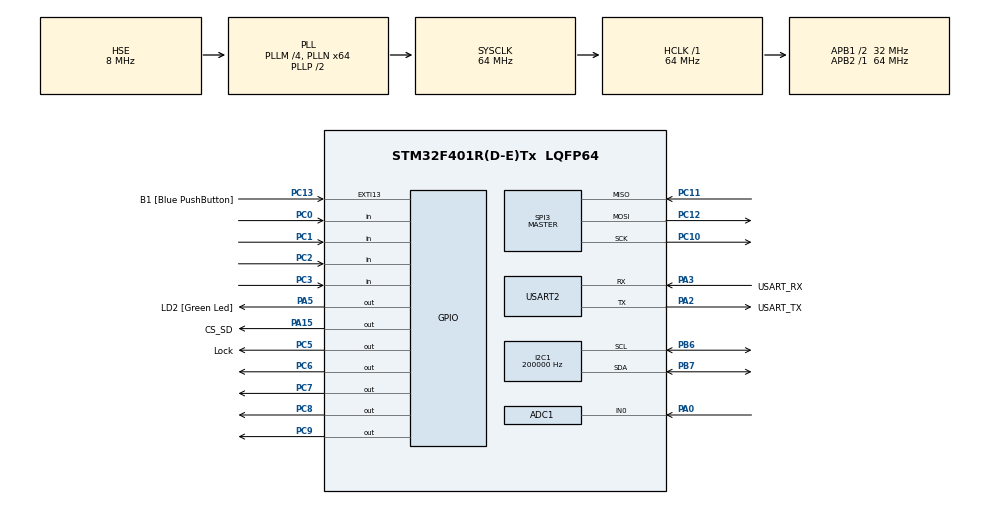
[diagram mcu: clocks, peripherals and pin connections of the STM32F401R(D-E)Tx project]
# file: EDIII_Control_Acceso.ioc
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ADC1.Channel-7\#ChannelRegularConversion=ADC_CHANNEL_0
ADC1.ClockPrescaler=ADC_CLOCK_SYNC_PCLK_DIV2
ADC1.ContinuousConvMode=DISABLE
ADC1.DMAContinuousRequests=DISABLE
ADC1.EOCSelection=ADC_EOC_SINGLE_CONV
ADC1.ExternalTrigConv=ADC_EXTERNALTRIGCONV_T3_TRGO
ADC1.NbrOfConversion=1
ADC1.NbrOfConversionFlag=1
ADC1.Rank-7\#ChannelRegularConversion=1
ADC1.SamplingTime-7\#ChannelRegularConversion=ADC_SAMPLETIME_28CYCLES
ADC1.master=1
Dma.ADC1.0.Direction=DMA_PERIPH_TO_MEMORY
Dma.ADC1.0.FIFOMode=DMA_FIFOMODE_DISABLE
Dma.ADC1.0.Instance=DMA2_Stream0
Dma.ADC1.0.MemDataAlignment=DMA_MDATAALIGN_HALFWORD
Dma.ADC1.0.MemInc=DMA_MINC_ENABLE
Dma.ADC1.0.Mode=DMA_NORMAL
Dma.ADC1.0.PeriphDataAlignment=DMA_PDATAALIGN_HALFWORD
Dma.ADC1.0.PeriphInc=DMA_PINC_DISABLE
Dma.ADC1.0.Priority=DMA_PRIORITY_LOW
Dma.Request0=ADC1
FATFS._CODE_PAGE=852
FATFS._FS_EXFAT=1
FATFS._MAX_SS=4096
FATFS._USE_LFN=3
FREERTOS.INCLUDE_vTaskDelayUntil=1
FREERTOS.MEMORY_ALLOCATION=0
FREERTOS.Tasks01=defaultTask,0,128,StartDefaultTask,Default,NULL,Dynamic,NULL,NULL
FREERTOS.configENABLE_FPU=1
FREERTOS.configTOTAL_HEAP_SIZE=67000
I2C1.ClockSpeed=200000
I2C1.I2C_Mode=I2C_Fast
Mcu.Family=STM32F4
Mcu.Name=STM32F401R(D-E)Tx
Mcu.Package=LQFP64
NVIC.ADC_IRQn=true\:5\:0\:false\:false\:true\:true\:true\:true\:true
NVIC.DMA2_Stream0_IRQn=true\:5\:0\:false\:false\:true\:true\:false\:true\:true
NVIC.PriorityGroup=NVIC_PRIORITYGROUP_4
NVIC.TIM2_IRQn=true\:15\:0\:false\:false\:true\:false\:false\:true\:true
NVIC.TIM3_IRQn=true\:5\:0\:false\:false\:true\:true\:true\:true\:true
NVIC.TimeBase=TIM2_IRQn
NVIC.TimeBaseIP=TIM2
PA0-WKUP.Signal=ADCx_IN0
PA13.GPIO_Label=TMS
PA13.Mode=Serial_Wire
PA13.Signal=SYS_JTMS-SWDIO
PA14.GPIO_Label=TCK
PA14.Mode=Serial_Wire
PA14.Signal=SYS_JTCK-SWCLK
PA15.GPIO_Label=CS_SD
PA15.Signal=GPIO_Output
PA2.GPIO_Label=USART_TX
PA2.GPIO_Mode=GPIO_MODE_AF_PP
PA2.GPIO_PuPd=GPIO_NOPULL
PA2.GPIO_Speed=GPIO_SPEED_FREQ_LOW
PA2.Mode=Asynchronous
PA2.Signal=USART2_TX
PA3.GPIO_Label=USART_RX
PA3.GPIO_Mode=GPIO_MODE_AF_PP
PA3.GPIO_PuPd=GPIO_NOPULL
PA3.GPIO_Speed=GPIO_SPEED_FREQ_LOW
PA3.Mode=Asynchronous
PA3.Signal=USART2_RX
PA5.GPIO_Label=LD2 [Green Led]
PA5.GPIO_Mode=GPIO_MODE_OUTPUT_PP
PA5.GPIO_PuPd=GPIO_NOPULL
PA5.GPIO_Speed=GPIO_SPEED_FREQ_LOW
PA5.Signal=GPIO_Output
PB3.GPIO_Label=SWO
PB3.Signal=SYS_JTDO-SWO
PB6.GPIO_Pu=GPIO_NOPULL
PB6.Mode=I2C
PB6.Signal=I2C1_SCL
PB7.GPIO_Pu=GPIO_NOPULL
PB7.Mode=I2C
PB7.Signal=I2C1_SDA
PC0.GPIO_PuPd=GPIO_PULLDOWN
PC0.Signal=GPIO_Input
PC1.GPIO_PuPd=GPIO_PULLDOWN
PC1.Signal=GPIO_Input
PC10.Mode=Full_Duplex_Master
PC10.Signal=SPI3_SCK
PC11.GPIO_PuPd=GPIO_PULLUP
PC11.Mode=Full_Duplex_Master
PC11.Signal=SPI3_MISO
PC12.GPIO_PuPd=GPIO_PULLUP
PC12.Mode=Full_Duplex_Master
PC12.Signal=SPI3_MOSI
PC13-ANTI_TAMP.GPIO_Label=B1 [Blue PushButton]
PC13-ANTI_TAMP.GPIO_ModeDefaultEXTI=GPIO_MODE_IT_FALLING
PC13-ANTI_TAMP.GPIO_PuPd=GPIO_NOPULL
PC13-ANTI_TAMP.Signal=GPXTI13
PC14-OSC32_IN.Mode=LSE-External-Oscillator
PC14-OSC32_IN.Signal=RCC_OSC32_IN
PC15-OSC32_OUT.Mode=LSE-External-Oscillator
PC15-OSC32_OUT.Signal=RCC_OSC32_OUT
PC2.GPIO_PuPd=GPIO_PULLDOWN
PC2.Signal=GPIO_Input
PC3.GPIO_PuPd=GPIO_PULLDOWN
PC3.Signal=GPIO_Input
PC5.GPIO_Label=Lock
PC5.Signal=GPIO_Output
PC6.Signal=GPIO_Output
PC7.Signal=GPIO_Output
PC8.Signal=GPIO_Output
PC9.Signal=GPIO_Output
PH0\ -\ OSC_IN.Mode=HSE-External-Clock-Source
PH0\ -\ OSC_IN.Signal=RCC_OSC_IN
PH1\ -\ OSC_OUT.Mode=HSE-External-Clock-Source
PH1\ -\ OSC_OUT.Signal=RCC_OSC_OUT
ProjectManager.HeapSize=0x200
ProjectManager.StackSize=0x800
ProjectManager.TargetToolchain=STM32CubeIDE
RCC.48MHZClocksFreq_Value=18285714.285714287
RCC.AHBFreq_Value=64000000
RCC.APB1CLKDivider=RCC_HCLK_DIV2
RCC.APB1Freq_Value=32000000
RCC.APB1TimFreq_Value=64000000
RCC.APB2Freq_Value=64000000
RCC.APB2TimFreq_Value=64000000
RCC.CortexFreq_Value=64000000
RCC.HCLKFreq_Value=64000000
RCC.HSE_VALUE=8000000
RCC.HSI_VALUE=16000000
RCC.PLLM=4
RCC.PLLN=64
RCC.PLLQ=7
RCC.PLLSourceVirtual=RCC_PLLSOURCE_HSE
RCC.SYSCLKFreq_VALUE=64000000
RCC.SYSCLKSource=RCC_SYSCLKSOURCE_PLLCLK
RCC.VCOOutputFreq_Value=128000000
RTC.Date=6
RTC.Format=RTC_FORMAT_BIN
RTC.Hours=15
RTC.Month=RTC_MONTH_JULY
RTC.WeekDay=RTC_WEEKDAY_SATURDAY
RTC.Year=24
SH.ADCx_IN0.0=ADC1_IN0,IN0
SPI3.BaudRatePrescaler=SPI_BAUDRATEPRESCALER_8
SPI3.Direction=SPI_DIRECTION_2LINES
SPI3.Mode=SPI_MODE_MASTER
SPI3.VirtualType=VM_MASTER
TIM3.Period=4000 - 1
TIM3.TIM_MasterOutputTrigger=TIM_TRGO_UPDATE
USART2.VirtualMode=VM_ASYNC
VP_FATFS_VS_Generic.Mode=User_defined
VP_FREERTOS_VS_CMSIS_V1.Mode=CMSIS_V1
VP_RTC_VS_RTC_Activate.Mode=RTC_Enabled
VP_RTC_VS_RTC_Calendar.Mode=RTC_Calendar
VP_SYS_VS_tim2.Mode=TIM2
VP_TIM3_VS_ClockSourceINT.Mode=Internal
board=NUCLEO-F401RE

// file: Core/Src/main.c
/* USER CODE BEGIN Header */
/**
  ******************************************************************************
  * @file           : main.c
  * @brief          : Main program body
  ******************************************************************************
  * @attention
  *
  * Copyright (c) 2024 STMicroelectronics.
  * All rights reserved.
  *
  * This software is licensed under terms that can be found in the LICENSE file
  * in the root directory of this software component.
  * If no LICENSE file comes with this software, it is provided AS-IS.
  *
  ******************************************************************************
  */
/* USER CODE END Header */
#include "main.h"
#include "cmsis_os.h"
#include "fatfs.h"

/* USER CODE BEGIN Includes */
#include "common_utils.h"

#include "../tasks/my_tasks.h"
/* USER CODE END Includes */

ADC_HandleTypeDef hadc1;
DMA_HandleTypeDef hdma_adc1;

I2C_HandleTypeDef hi2c1;

RTC_HandleTypeDef hrtc;

SPI_HandleTypeDef hspi3;

TIM_HandleTypeDef htim3;

UART_HandleTypeDef huart2;

/* USER CODE BEGIN PV */
QueueHandle_t sequence_queue;
QueueHandle_t display_queue;
QueueHandle_t lock_state_queue;
SemaphoreHandle_t keypad_sd_sync;
SemaphoreHandle_t sd_display_sync;
SemaphoreHandle_t sd_lock_sync;

volatile bool conv_cplt_flag = false;
/* USER CODE END PV */

void SystemClock_Config(void);
static void MX_GPIO_Init(void);
static void MX_DMA_Init(void);
static void MX_USART2_UART_Init(void);
static void MX_I2C1_Init(void);
static void MX_SPI3_Init(void);
static void MX_RTC_Init(void);
static void MX_ADC1_Init(void);
static void MX_TIM3_Init(void);

/* USER CODE BEGIN PFP */
void idle_task(void *pvParameters);
/* USER CODE END PFP */

int main(void)
{

  /* MCU Configuration--------------------------------------------------------*/

  /* Reset of all peripherals, Initializes the Flash interface and the Systick. */
  HAL_Init();

  /* Configure the system clock */
  SystemClock_Config();

  /* Initialize all configured peripherals */
  MX_GPIO_Init();
  MX_DMA_Init();
  MX_USART2_UART_Init();
  MX_I2C1_Init();
  MX_SPI3_Init();
  MX_RTC_Init();
  MX_ADC1_Init();
  MX_TIM3_Init();
  MX_FATFS_Init();

  /* USER CODE BEGIN RTOS_SEMAPHORES */
  keypad_sd_sync = xSemaphoreCreateBinary();
  sd_display_sync = xSemaphoreCreateBinary();
  sd_lock_sync = xSemaphoreCreateBinary();
  /* USER CODE END RTOS_SEMAPHORES */

  /* USER CODE BEGIN RTOS_QUEUES */
  display_queue = xQueueCreate(1, sizeof(display_message_t));
  sequence_queue = xQueueCreate(1, sizeof(char));
  lock_state_queue = xQueueCreate(1, sizeof(bool));
  /* USER CODE END RTOS_QUEUES */

  /* Create the thread(s) */
  /* definition and creation of defaultTask */

  /* USER CODE BEGIN RTOS_THREADS */
  xTaskCreate(display_task, "Tarea display", 3* configMINIMAL_STACK_SIZE, NULL, tskIDLE_PRIORITY + 4, NULL);
  xTaskCreate(lock_task, "Tarea Lock", configMINIMAL_STACK_SIZE, NULL, tskIDLE_PRIORITY + 3, NULL);
  //xTaskCreate(VoiceProcessing, "Tarea 03", configMINIMAL_STACK_SIZE, NULL, tskIDLE_PRIORITY + 2, NULL);
  xTaskCreate(sd_task, "Tarea SD", 15000, NULL, tskIDLE_PRIORITY + 2, NULL);
  xTaskCreate(keypad_task, "Tarea keypad", 1 * configMINIMAL_STACK_SIZE, NULL, tskIDLE_PRIORITY + 1, NULL);
  xTaskCreate(idle_task, "Tarea Idle", 1 * configMINIMAL_STACK_SIZE, NULL, tskIDLE_PRIORITY, NULL);
  /* USER CODE END RTOS_THREADS */

  /* Start scheduler */
  vTaskStartScheduler();

  /* We should never get here as control is now taken by the scheduler */

  /* Infinite loop */
  while (1)
  {

  }
}

void SystemClock_Config(void)
{
  RCC_OscInitTypeDef RCC_OscInitStruct = {0};
  RCC_ClkInitTypeDef RCC_ClkInitStruct = {0};

  /** Configure the main internal regulator output voltage
  */
  __HAL_RCC_PWR_CLK_ENABLE();
  __HAL_PWR_VOLTAGESCALING_CONFIG(PWR_REGULATOR_VOLTAGE_SCALE2);

  /** Initializes the RCC Oscillators according to the specified parameters
  * in the RCC_OscInitTypeDef structure.
  */
  RCC_OscInitStruct.OscillatorType = RCC_OSCILLATORTYPE_LSI|RCC_OSCILLATORTYPE_HSE;
  RCC_OscInitStruct.HSEState = RCC_HSE_BYPASS;
  RCC_OscInitStruct.LSIState = RCC_LSI_ON;
  RCC_OscInitStruct.PLL.PLLState = RCC_PLL_ON;
  RCC_OscInitStruct.PLL.PLLSource = RCC_PLLSOURCE_HSE;
  RCC_OscInitStruct.PLL.PLLM = 4;
  RCC_OscInitStruct.PLL.PLLN = 64;
  RCC_OscInitStruct.PLL.PLLP = RCC_PLLP_DIV2;
  RCC_OscInitStruct.PLL.PLLQ = 7;
  if (HAL_RCC_OscConfig(&RCC_OscInitStruct) != HAL_OK)
  {
    Error_Handler();
  }

  /** Initializes the CPU, AHB and APB buses clocks
  */
  RCC_ClkInitStruct.ClockType = RCC_CLOCKTYPE_HCLK|RCC_CLOCKTYPE_SYSCLK
                              |RCC_CLOCKTYPE_PCLK1|RCC_CLOCKTYPE_PCLK2;
  RCC_ClkInitStruct.SYSCLKSource = RCC_SYSCLKSOURCE_PLLCLK;
  RCC_ClkInitStruct.AHBCLKDivider = RCC_SYSCLK_DIV1;
  RCC_ClkInitStruct.APB1CLKDivider = RCC_HCLK_DIV2;
  RCC_ClkInitStruct.APB2CLKDivider = RCC_HCLK_DIV1;

  if (HAL_RCC_ClockConfig(&RCC_ClkInitStruct, FLASH_LATENCY_2) != HAL_OK)
  {
    Error_Handler();
  }
}

static void MX_ADC1_Init(void)
{

  ADC_ChannelConfTypeDef sConfig = {0};

  /** Configure the global features of the ADC (Clock, Resolution, Data Alignment and number of conversion)
  */
  hadc1.Instance = ADC1;
  hadc1.Init.ClockPrescaler = ADC_CLOCK_SYNC_PCLK_DIV2;
  hadc1.Init.Resolution = ADC_RESOLUTION_12B;
  hadc1.Init.ScanConvMode = DISABLE;
  hadc1.Init.ContinuousConvMode = DISABLE;
  hadc1.Init.DiscontinuousConvMode = DISABLE;
  hadc1.Init.ExternalTrigConvEdge = ADC_EXTERNALTRIGCONVEDGE_RISING;
  hadc1.Init.ExternalTrigConv = ADC_EXTERNALTRIGCONV_T3_TRGO;
  hadc1.Init.DataAlign = ADC_DATAALIGN_RIGHT;
  hadc1.Init.NbrOfConversion = 1;
  hadc1.Init.DMAContinuousRequests = DISABLE;
  hadc1.Init.EOCSelection = ADC_EOC_SINGLE_CONV;
  if (HAL_ADC_Init(&hadc1) != HAL_OK)
  {
    Error_Handler();
  }

  /** Configure for the selected ADC regular channel its corresponding rank in the sequencer and its sample time.
  */
  sConfig.Channel = ADC_CHANNEL_0;
  sConfig.Rank = 1;
  sConfig.SamplingTime = ADC_SAMPLETIME_28CYCLES;
  if (HAL_ADC_ConfigChannel(&hadc1, &sConfig) != HAL_OK)
  {
    Error_Handler();
  }

}

static void MX_I2C1_Init(void)
{

  hi2c1.Instance = I2C1;
  hi2c1.Init.ClockSpeed = 200000;
  hi2c1.Init.DutyCycle = I2C_DUTYCYCLE_2;
  hi2c1.Init.OwnAddress1 = 0;
  hi2c1.Init.AddressingMode = I2C_ADDRESSINGMODE_7BIT;
  hi2c1.Init.DualAddressMode = I2C_DUALADDRESS_DISABLE;
  hi2c1.Init.OwnAddress2 = 0;
  hi2c1.Init.GeneralCallMode = I2C_GENERALCALL_DISABLE;
  hi2c1.Init.NoStretchMode = I2C_NOSTRETCH_DISABLE;
  if (HAL_I2C_Init(&hi2c1) != HAL_OK)
  {
    Error_Handler();
  }

}

static void MX_RTC_Init(void)
{

  RTC_TimeTypeDef sTime = {0};
  RTC_DateTypeDef sDate = {0};

  /** Initialize RTC Only
  */
  hrtc.Instance = RTC;
  hrtc.Init.HourFormat = RTC_HOURFORMAT_24;
  hrtc.Init.AsynchPrediv = 127;
  hrtc.Init.SynchPrediv = 255;
  hrtc.Init.OutPut = RTC_OUTPUT_DISABLE;
  hrtc.Init.OutPutPolarity = RTC_OUTPUT_POLARITY_HIGH;
  hrtc.Init.OutPutType = RTC_OUTPUT_TYPE_OPENDRAIN;
  if (HAL_RTC_Init(&hrtc) != HAL_OK)
  {
    Error_Handler();
  }

  /** Initialize RTC and set the Time and Date
  */
  sTime.Hours = 15;
  sTime.Minutes = 0;
  sTime.Seconds = 0;
  sTime.DayLightSaving = RTC_DAYLIGHTSAVING_NONE;
  sTime.StoreOperation = RTC_STOREOPERATION_RESET;
  if (HAL_RTC_SetTime(&hrtc, &sTime, RTC_FORMAT_BIN) != HAL_OK)
  {
    Error_Handler();
  }
  sDate.WeekDay = RTC_WEEKDAY_SATURDAY;
  sDate.Month = RTC_MONTH_JULY;
  sDate.Date = 6;
  sDate.Year = 24;

  if (HAL_RTC_SetDate(&hrtc, &sDate, RTC_FORMAT_BIN) != HAL_OK)
  {
    Error_Handler();
  }

}

static void MX_SPI3_Init(void)
{

  /* SPI3 parameter configuration*/
  hspi3.Instance = SPI3;
  hspi3.Init.Mode = SPI_MODE_MASTER;
  hspi3.Init.Direction = SPI_DIRECTION_2LINES;
  hspi3.Init.DataSize = SPI_DATASIZE_8BIT;
  hspi3.Init.CLKPolarity = SPI_POLARITY_LOW;
  hspi3.Init.CLKPhase = SPI_PHASE_1EDGE;
  hspi3.Init.NSS = SPI_NSS_SOFT;
  hspi3.Init.BaudRatePrescaler = SPI_BAUDRATEPRESCALER_8;
  hspi3.Init.FirstBit = SPI_FIRSTBIT_MSB;
  hspi3.Init.TIMode = SPI_TIMODE_DISABLE;
  hspi3.Init.CRCCalculation = SPI_CRCCALCULATION_DISABLE;
  hspi3.Init.CRCPolynomial = 10;
  if (HAL_SPI_Init(&hspi3) != HAL_OK)
  {
    Error_Handler();
  }

}

static void MX_TIM3_Init(void)
{

  TIM_ClockConfigTypeDef sClockSourceConfig = {0};
  TIM_MasterConfigTypeDef sMasterConfig = {0};

  htim3.Instance = TIM3;
  htim3.Init.Prescaler = 0;
  htim3.Init.CounterMode = TIM_COUNTERMODE_UP;
  htim3.Init.Period = 4000 - 1;
  htim3.Init.ClockDivision = TIM_CLOCKDIVISION_DIV1;
  htim3.Init.AutoReloadPreload = TIM_AUTORELOAD_PRELOAD_DISABLE;
  if (HAL_TIM_Base_Init(&htim3) != HAL_OK)
  {
    Error_Handler();
  }
  sClockSourceConfig.ClockSource = TIM_CLOCKSOURCE_INTERNAL;
  if (HAL_TIM_ConfigClockSource(&htim3, &sClockSourceConfig) != HAL_OK)
  {
    Error_Handler();
  }
  sMasterConfig.MasterOutputTrigger = TIM_TRGO_UPDATE;
  sMasterConfig.MasterSlaveMode = TIM_MASTERSLAVEMODE_DISABLE;
  if (HAL_TIMEx_MasterConfigSynchronization(&htim3, &sMasterConfig) != HAL_OK)
  {
    Error_Handler();
  }

}

static void MX_USART2_UART_Init(void)
{

  huart2.Instance = USART2;
  huart2.Init.BaudRate = 115200;
  huart2.Init.WordLength = UART_WORDLENGTH_8B;
  huart2.Init.StopBits = UART_STOPBITS_1;
  huart2.Init.Parity = UART_PARITY_NONE;
  huart2.Init.Mode = UART_MODE_TX_RX;
  huart2.Init.HwFlowCtl = UART_HWCONTROL_NONE;
  huart2.Init.OverSampling = UART_OVERSAMPLING_16;
  if (HAL_UART_Init(&huart2) != HAL_OK)
  {
    Error_Handler();
  }

}

static void MX_DMA_Init(void)
{

  /* DMA controller clock enable */
  __HAL_RCC_DMA2_CLK_ENABLE();

  /* DMA interrupt init */
  /* DMA2_Stream0_IRQn interrupt configuration */
  HAL_NVIC_SetPriority(DMA2_Stream0_IRQn, 5, 0);
  HAL_NVIC_EnableIRQ(DMA2_Stream0_IRQn);

}

static void MX_GPIO_Init(void)
{
  GPIO_InitTypeDef GPIO_InitStruct = {0};

  /* GPIO Ports Clock Enable */
  __HAL_RCC_GPIOC_CLK_ENABLE();
  __HAL_RCC_GPIOH_CLK_ENABLE();
  __HAL_RCC_GPIOA_CLK_ENABLE();
  __HAL_RCC_GPIOB_CLK_ENABLE();

  /*Configure GPIO pin Output Level */
  HAL_GPIO_WritePin(GPIOA, LD2_Pin|CS_SD_Pin, GPIO_PIN_RESET);

  /*Configure GPIO pin Output Level */
  HAL_GPIO_WritePin(GPIOC, Lock_Pin|GPIO_PIN_6|GPIO_PIN_7|GPIO_PIN_8
                          |GPIO_PIN_9, GPIO_PIN_RESET);

  /*Configure GPIO pin : B1_Pin */
  GPIO_InitStruct.Pin = B1_Pin;
  GPIO_InitStruct.Mode = GPIO_MODE_IT_FALLING;
  GPIO_InitStruct.Pull = GPIO_NOPULL;
  HAL_GPIO_Init(B1_GPIO_Port, &GPIO_InitStruct);

  /*Configure GPIO pins : PC0 PC1 PC2 PC3 */
  GPIO_InitStruct.Pin = GPIO_PIN_0|GPIO_PIN_1|GPIO_PIN_2|GPIO_PIN_3;
  GPIO_InitStruct.Mode = GPIO_MODE_INPUT;
  GPIO_InitStruct.Pull = GPIO_PULLDOWN;
  HAL_GPIO_Init(GPIOC, &GPIO_InitStruct);

  /*Configure GPIO pins : LD2_Pin CS_SD_Pin */
  GPIO_InitStruct.Pin = LD2_Pin|CS_SD_Pin;
  GPIO_InitStruct.Mode = GPIO_MODE_OUTPUT_PP;
  GPIO_InitStruct.Pull = GPIO_NOPULL;
  GPIO_InitStruct.Speed = GPIO_SPEED_FREQ_LOW;
  HAL_GPIO_Init(GPIOA, &GPIO_InitStruct);

  /*Configure GPIO pins : Lock_Pin PC6 PC7 PC8
                           PC9 */
  GPIO_InitStruct.Pin = Lock_Pin|GPIO_PIN_6|GPIO_PIN_7|GPIO_PIN_8
                          |GPIO_PIN_9;
  GPIO_InitStruct.Mode = GPIO_MODE_OUTPUT_PP;
  GPIO_InitStruct.Pull = GPIO_NOPULL;
  GPIO_InitStruct.Speed = GPIO_SPEED_FREQ_LOW;
  HAL_GPIO_Init(GPIOC, &GPIO_InitStruct);

}

/* USER CODE BEGIN 4 */
void idle_task(void *pvParameters){
	while(1);
}

void HAL_ADC_ConvCpltCallback(ADC_HandleTypeDef* hadc) {
	HAL_TIM_Base_Stop_IT(&htim3);
	HAL_ADC_Stop_DMA(&hadc1);
	conv_cplt_flag = true;
}

/* USER CODE END 4 */

void StartDefaultTask(void const * argument)
{
  for(;;)
  {
    osDelay(1);
  }
}

void HAL_TIM_PeriodElapsedCallback(TIM_HandleTypeDef *htim)
{
  if (htim->Instance == TIM2) {
    HAL_IncTick();
  }
}

void Error_Handler(void)
{
  __disable_irq();
  while (1)
  {
  }
}
